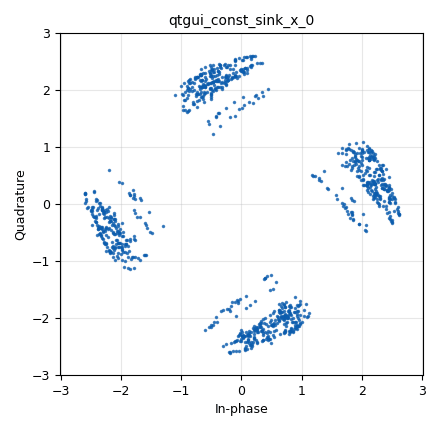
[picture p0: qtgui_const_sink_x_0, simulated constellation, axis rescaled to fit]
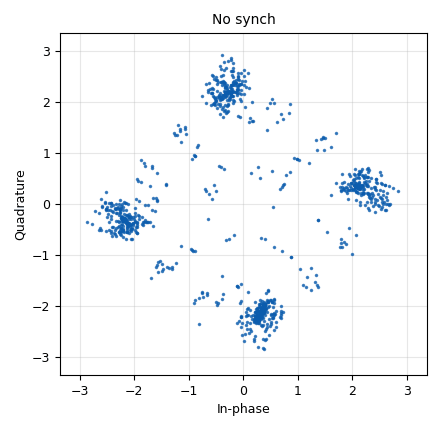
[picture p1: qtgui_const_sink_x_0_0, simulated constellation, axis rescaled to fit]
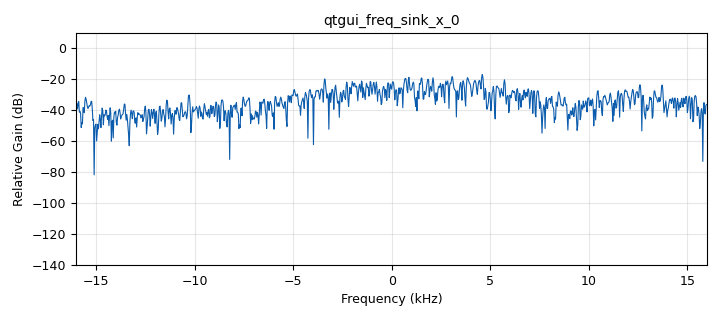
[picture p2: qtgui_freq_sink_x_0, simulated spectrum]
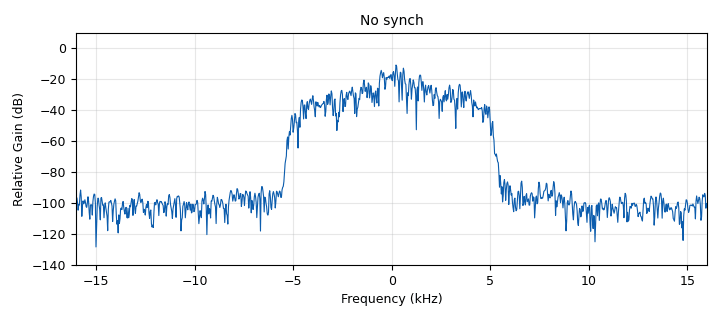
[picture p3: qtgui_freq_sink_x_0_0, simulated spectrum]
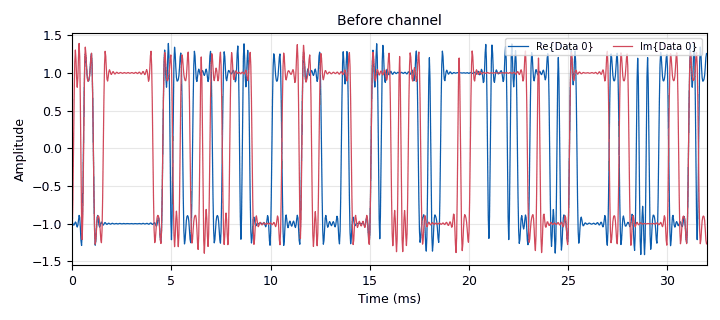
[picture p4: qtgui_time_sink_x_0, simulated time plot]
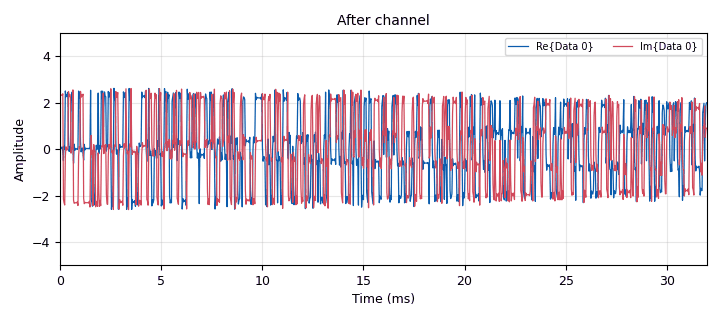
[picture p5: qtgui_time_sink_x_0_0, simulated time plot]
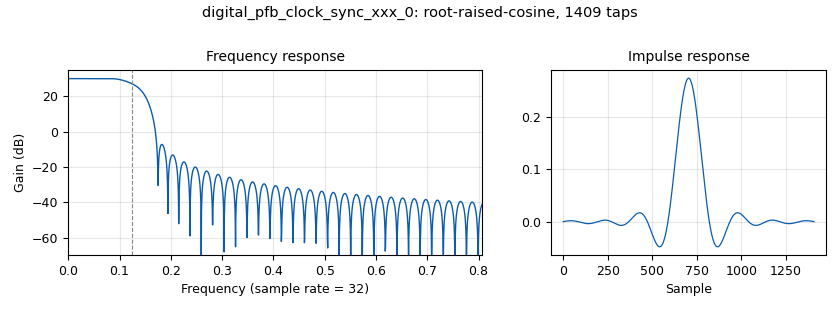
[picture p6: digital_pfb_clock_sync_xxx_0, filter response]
options:
  parameters:
    author: Madeline Tippett
    generate_options: qt_gui
    id: channel_model_rician
    output_language: python
    title: Channel Model Multipath
  states: {}

blocks:
- name: nfilts
  id: variable
  parameters:
    value: '32'
  states: {}
- name: points
  id: variable
  parameters:
    value: '4'
  states: {}
- name: rrc_taps
  id: variable
  parameters:
    value: firdes.root_raised_cosine(nfilts, nfilts, 1.0/float(sps), 0.35,11*sps*nfilts)
  states: {}
- name: samp_rate
  id: variable
  parameters:
    value: '32000'
  states: {}
- name: samp_rate_0
  id: variable
  parameters:
    value: '32000'
  states: {}
- name: samp_rate_1
  id: variable
  parameters:
    value: '32000'
  states: {}
- name: samp_rate_2
  id: variable
  parameters:
    value: '32000'
  states: {}
- name: sps
  id: variable
  parameters:
    value: '4'
  states: {}
- name: analog_random_source_x_0
  id: analog_random_source_x
  parameters:
    max: '8'
    min: '0'
    num_samps: '1000'
    repeat: 'True'
    type: byte
  states: {}
- name: blocks_multiply_const_vxx_0
  id: blocks_multiply_const_vxx
  parameters:
    const: 1+1j
    type: complex
  states: {}
- name: blocks_throttle_0
  id: blocks_throttle
  parameters:
    samples_per_second: samp_rate
    type: complex
  states: {}
- name: channels_selective_fading_model_0
  id: channels_selective_fading_model
  parameters:
    K: '0.8'
    LOS: 'True'
    N: '8'
    delays: (0.0,0.1,1.6)
    fDTs: 1.67/samp_rate
    mags: (1,0.99,0.98)
    ntaps: '8'
    seed: '0'
  states: {}
- name: digital_pfb_clock_sync_xxx_0
  id: digital_pfb_clock_sync_xxx
  parameters:
    filter_size: '32'
    init_phase: '16'
    loop_bw: '.001'
    max_dev: '1.5'
    osps: '1'
    sps: '4'
    taps: rrc_taps
    type: ccf
  states: {}
- name: digital_psk_mod_0
  id: digital_psk_mod
  parameters:
    constellation_points: '4'
    differential: 'True'
    excess_bw: '0.35'
    mod_code: '"gray"'
    samples_per_symbol: '4'
  states: {}
- name: import_0
  id: import
  parameters:
    imports: import math
  states: {}
- name: qtgui_const_sink_x_0
  id: qtgui_const_sink_x
  parameters:
    size: '1024'
    type: complex
  states: {}
- name: qtgui_const_sink_x_0_0
  id: qtgui_const_sink_x
  parameters:
    name: No synch
    size: '1024'
    type: complex
  states: {}
- name: qtgui_freq_sink_x_0
  id: qtgui_freq_sink_x
  parameters:
    bw: samp_rate
    fc: '0'
    fftsize: '1024'
    type: complex
  states: {}
- name: qtgui_freq_sink_x_0_0
  id: qtgui_freq_sink_x
  parameters:
    bw: samp_rate
    fc: '0'
    fftsize: '1024'
    name: No synch
    type: complex
  states: {}
- name: qtgui_time_sink_x_0
  id: qtgui_time_sink_x
  parameters:
    autoscale: 'True'
    name: Before channel
    size: '1024'
    srate: samp_rate
    type: complex
  states: {}
- name: qtgui_time_sink_x_0_0
  id: qtgui_time_sink_x
  parameters:
    ctrlpanel: 'True'
    name: After channel
    size: '1024'
    srate: samp_rate
    type: complex
    ymax: '5'
    ymin: '-5'
  states: {}
- name: qtgui_time_sink_x_0_0_0
  id: qtgui_time_sink_x
  parameters:
    autoscale: 'True'
    ctrlpanel: 'True'
    name: No synch
    size: '1024'
    srate: samp_rate
    type: complex
    ymax: '5'
    ymin: '-5'
  states: {}

connections:
- [analog_random_source_x_0, '0', digital_psk_mod_0, '0']
- [blocks_multiply_const_vxx_0, '0', channels_selective_fading_model_0, '0']
- [blocks_multiply_const_vxx_0, '0', qtgui_time_sink_x_0, '0']
- [blocks_throttle_0, '0', blocks_multiply_const_vxx_0, '0']
- [channels_selective_fading_model_0, '0', digital_pfb_clock_sync_xxx_0, '0']
- [channels_selective_fading_model_0, '0', qtgui_const_sink_x_0_0, '0']
- [channels_selective_fading_model_0, '0', qtgui_freq_sink_x_0_0, '0']
- [channels_selective_fading_model_0, '0', qtgui_time_sink_x_0_0_0, '0']
- [digital_pfb_clock_sync_xxx_0, '0', qtgui_const_sink_x_0, '0']
- [digital_pfb_clock_sync_xxx_0, '0', qtgui_freq_sink_x_0, '0']
- [digital_pfb_clock_sync_xxx_0, '0', qtgui_time_sink_x_0_0, '0']
- [digital_psk_mod_0, '0', blocks_throttle_0, '0']

metadata:
  file_format: 1
